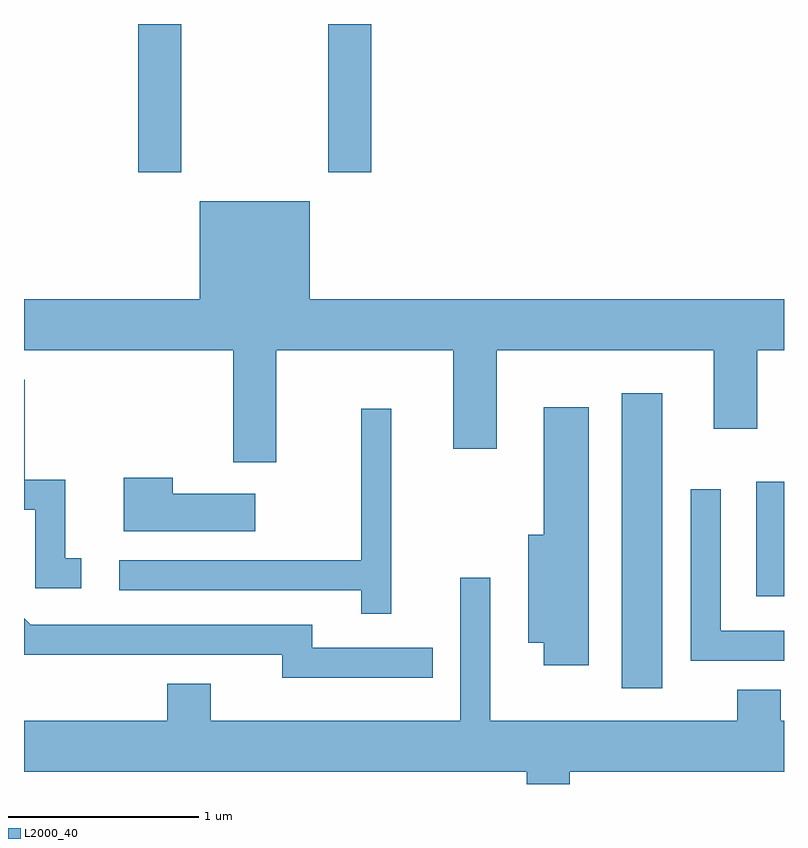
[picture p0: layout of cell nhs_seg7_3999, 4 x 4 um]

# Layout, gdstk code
import gdstk
lib = gdstk.Library(unit=1e-6, precision=1e-09)
def R(c, l, rs):  # rectangles x0, y0, x1, y1
    for r in rs: c.add(gdstk.rectangle(r[:2], r[2:], *l))
def P(c, l, *ps):  # polygons
    for p in ps: c.add(gdstk.Polygon(p, *l))
L2000_40 = (2000, 40)

nhs_seg7_3999 = lib.new_cell('nhs_seg7_3999')
R(nhs_seg7_3999, L2000_40, [(310.756,1714.756,310.969,1716.309), (311.466,1715.241,311.611,1715.844), (308.211,1717.471,308.439,1718.252), (309.211,1717.471,309.439,1718.252)])
P(nhs_seg7_3999, L2000_40, [(308.939,1716.536),(309.871,1716.536),(309.871,1716.016),(310.099,1716.016),(310.099,1716.536),(311.241,1716.536),(311.241,1716.121),(311.469,1716.121),(311.469,1716.536),(311.611,1716.536),(311.611,1716.804),(309.114,1716.804),(309.114,1717.319),(308.536,1717.319),(308.536,1716.804),(307.611,1716.804),(307.611,1716.536),(308.711,1716.536),(308.711,1715.946),(308.939,1715.946)],
  [(307.913,1715.439),(307.829,1715.439),(307.829,1715.854),(307.614,1715.854),(307.614,1716.379),(307.611,1716.379),(307.611,1715.696),(307.671,1715.696),(307.671,1715.281),(307.913,1715.281)],
  [(310.584,1716.234),(310.346,1716.234),(310.346,1715.564),(310.266,1715.564),(310.266,1714.996),(310.346,1714.996),(310.346,1714.876),(310.584,1714.876)],
  [(309.544,1716.228),(309.386,1716.228),(309.386,1715.429),(308.113,1715.429),(308.113,1715.271),(309.386,1715.271),(309.386,1715.148),(309.544,1715.148)],
  [(308.829,1715.779),(308.394,1715.779),(308.394,1715.864),(308.136,1715.864),(308.136,1715.581),(308.829,1715.581)],
  [(311.611,1715.059),(311.279,1715.059),(311.279,1715.803),(311.121,1715.803),(311.121,1714.901),(311.611,1714.901)],
  [(310.484,1714.316),(311.611,1714.316),(311.611,1714.584),(311.594,1714.584),(311.594,1714.749),(311.366,1714.749),(311.366,1714.584),(310.064,1714.584),(310.064,1715.338),(309.906,1715.338),(309.906,1714.584),(308.594,1714.584),(308.594,1714.779),(308.366,1714.779),(308.366,1714.584),(307.611,1714.584),(307.611,1714.316),(310.256,1714.316),(310.256,1714.252),(310.484,1714.252)],
  [(309.763,1714.969),(309.129,1714.969),(309.129,1715.089),(307.647,1715.089),(307.611,1715.125),(307.611,1714.931),(308.971,1714.931),(308.971,1714.811),(309.763,1714.811)])

lib.write_gds('nhs_seg7_3999.gds')
